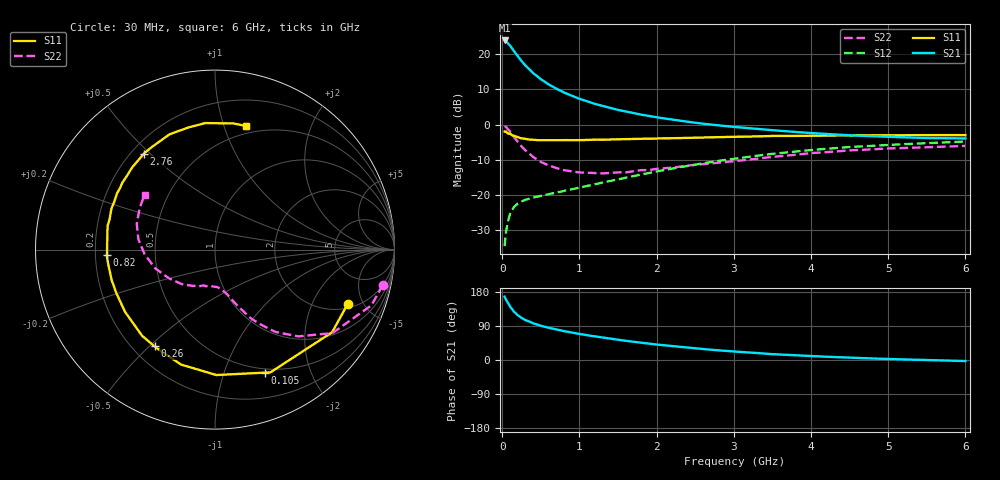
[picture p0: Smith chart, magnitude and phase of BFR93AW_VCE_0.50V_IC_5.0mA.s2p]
! Infineon Technologies  Discrete & RF Semiconductors
! BFR93AW
! VCE = 0.50 V,  IC =  5.0 mA
! Common Emitter S-Parameters:  Nov 2015
# GHz  S  MA  R  50
!  f  S11  S21  S12  S22
! GHz  MAG  ANG  MAG  ANG  MAG  ANG  MAG  ANG
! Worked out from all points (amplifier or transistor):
!   206 points, 30 MHz to 6 GHz, reference 50 ohm
!   highest |S21| = 23.9 dB at 30 MHz (marker M1)
!   |S21| within 3 dB of that: start of sweep to 150.6 MHz
!   unconditionally stable (mu >= 1): 871.5 MHz to 3.006 GHz; 5.223 GHz to end of sweep
!   at 200 MHz: K = 0.32, MSG = 21.0 dB, |S12| = -22.5 dB
!   at 1.56 GHz: K = 1.15, MAG = 7.3 dB, |S12| = -15.3 dB
!   at 6 GHz: K = 1.01, MAG = -0.2 dB, |S12| = -4.8 dB
!   S11 on the Smith chart (normalised r, x): 30 MHz: 2.28, -3.80; 105 MHz: 0.46, -1.38; 260 MHz: 0.29, -0.52; 820 MHz: 0.25, -0.02; 2.76 GHz: 0.25, +0.48; 6 GHz: 0.43, +1.19
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0.03  0.799 -22.2  15.75 167.1  0.0187 78.4  0.9554 -11.9
0.05  0.7986 -35.2  15.39 158.4  0.0308 72.9  0.9251 -19.6
0.1  0.7505 -65.7  13.4 140.8  0.0537 59.0  0.8028 -35.4
0.105  0.74 -67.9  13.15 139.7  0.055 57.8  0.7886 -36.3
0.15  0.6989 -89.4  11.17 127.6  0.0673 49.3  0.6709 -46.1
0.2  0.6678 -106.4  9.42 118.1  0.0754 44.1  0.5693 -53.7
0.24  0.6421 -117.2  8.267 112.5  0.0799 41.3  0.5035 -57.6
0.26  0.6357 -122.0  7.773 109.9  0.082 40.4  0.4759 -59.5
0.3  0.629 -130.2  6.921 105.3  0.0856 39.4  0.4301 -62.5
0.4  0.6096 -145.3  5.398 96.7  0.0918 38.1  0.3464 -67.5
0.5  0.6007 -156.1  4.424 90.2  0.097 38.3  0.2948 -71.5
0.6  0.6004 -163.7  3.736 85.0  0.1027 39.8  0.263 -74.2
0.82  0.6028 -177.0  2.803 75.4  0.1154 43.2  0.2233 -81.7
1.04  0.603 173.4  2.252 67.5  0.1301 46.6  0.2079 -88.6
1.2  0.6128 167.6  1.973 62.2  0.142 48.8  0.2055 -93.9
1.5  0.6205 158.5  1.62 53.5  0.1664 51.7  0.2101 -104.3
2.02  0.6366 143.9  1.262 40.4  0.2176 53.2  0.2367 -121.0
2.76  0.6644 126.7  0.988 26.2  0.3007 50.3  0.2846 -142.2
3.1  0.6735 119.5  0.909 21.1  0.3385 47.7  0.3099 -151.3
4.1  0.6975 100.7  0.748 9.4  0.4443 36.6  0.3999 -178.8
5.1  0.7051 86.4  0.666 2.1  0.5218 24.8  0.4618 159.5
6  0.7096 76.0  0.637 -2.8  0.5754 15.0  0.4981 142.0
